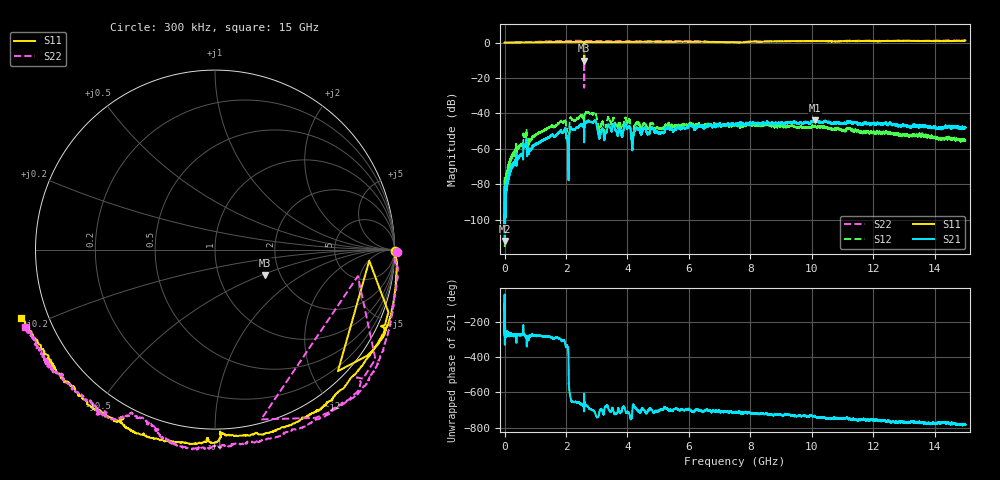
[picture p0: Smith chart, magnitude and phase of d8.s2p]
!Agilent Technologies,N5230C,SG49000117,A.08.50.07
!Agilent N5230C: A.08.50.07
!Date: Friday, May 17, 2024 04:41:48
!Correction: S11(Full 2 Port(1,2))
!S21(Full 2 Port(1,2))
!S12(Full 2 Port(1,2))
!S22(Full 2 Port(1,2))
!S2P File: Measurements: S11, S21, S12, S22:
# Hz S  MA  R 50
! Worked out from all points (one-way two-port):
!   20001 points, 300 kHz to 15 GHz, reference 50 ohm
!   highest |S21| = -43.83 dB at 10.11 GHz (marker M1); lowest = -112.0 dB at 8.55 MHz (marker M2)
!   lowest |S11| = -10.1 dB at 2.59 GHz (marker M3), VSWR 1.91, Z = 83.3 - j26.2 ohm
!   |S11| at or under -10 dB: 2.589959 GHz to 2.590034 GHz (74.75 kHz wide, 0.00289 % of centre)
!   |S22| runs from -25.4 to 1.3 dB; largest |S21 - S12| = 0.0059
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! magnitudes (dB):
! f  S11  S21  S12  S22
! 300 kHz  0.0  -99.4  -97.3  0.1
! 8.55 MHz  0.0  -112.0  -98.1  0.0
! 224.5 MHz  0.1  -70.5  -64.9  0.1
! 647.5 MHz  0.2  -58.4  -53.0  0.3
! 798.3 MHz  0.2  -61.6  -56.4  0.3
! 1.908 GHz  0.4  -50.5  -45.1  0.9
! 2.059 GHz  0.4  -57.6  -52.3  1.0
! 2.186 GHz  0.4  -48.9  -43.3  1.1
! 2.501 GHz  0.4  -46.2  -41.1  1.0
! 2.59 GHz  -10.1  -50.1  -49.1  -25.4
! 2.915 GHz  0.4  -44.3  -39.6  0.9
! 3.1 GHz  0.4  -52.9  -48.5  0.9
! 3.82 GHz  0.5  -53.0  -50.2  0.8
! 3.994 GHz  0.4  -48.5  -45.3  0.8
! 4.169 GHz  0.5  -57.9  -54.9  0.7
! 4.323 GHz  0.5  -48.6  -45.5  0.8
! 5 GHz  0.5  -50.9  -48.4  0.8
! 7.5 GHz  0.3  -46.1  -46.5  0.2
! 10 GHz  0.9  -44.5  -47.5  0.9
! 10.11 GHz  0.9  -43.8  -47.1  0.9
! 12.5 GHz  1.0  -45.7  -50.8  1.0
! 15 GHz  1.2  -47.8  -54.7  1.2
